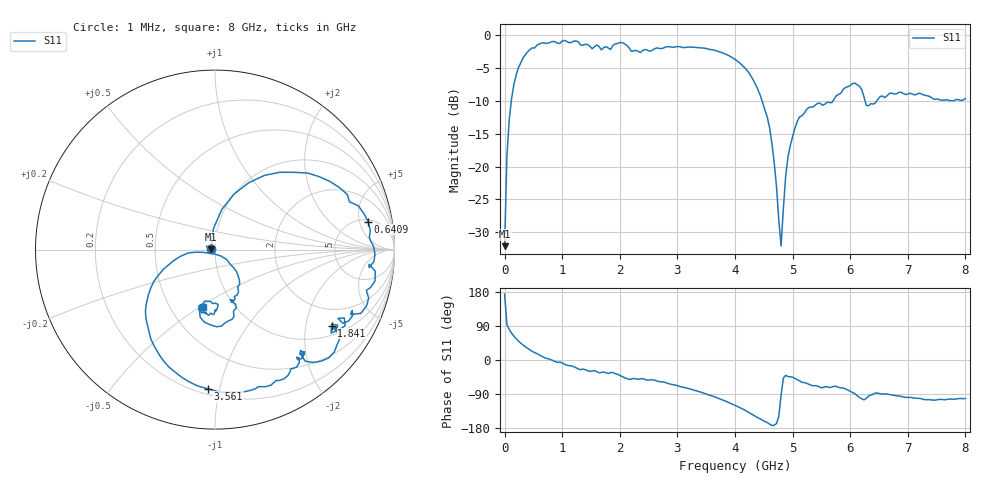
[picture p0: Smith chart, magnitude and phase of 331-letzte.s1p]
# Hz S DB R 50
! CMT, CMT804U, 21380002, 24.2.2/4
! Date: 09/12/2025 13:13:09
! Data: Format (Calibration Info)
! Freq	S11:dB/Ang(F2)
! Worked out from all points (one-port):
!   201 points, 1 MHz to 8 GHz, reference 50 ohm
!   lowest |S11| = -32.1 dB at 1 MHz (marker M1), VSWR 1.05, Z = 47.6 + j0.251 ohm
!   |S11| at or under -10 dB: start of sweep to 117.5 MHz; 4.47 GHz to 5.703 GHz (1.233 GHz wide, 24.2 % of centre); 6.258 GHz to 6.465 GHz (206.4 MHz wide, 3.24 % of centre)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
!   S11 on the Smith chart (normalised r, x): 1 MHz: 0.95, +0.01; 640.9 MHz: 5.42, +6.81; 1.841 GHz: 1.32, -2.81; 3.561 GHz: 0.24, -0.92; 8 GHz: 0.72, -0.52
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1000000  -32.11 173.9
4.0995e7  -18.44 93.7
8.099e7  -12.91 80.4
1.6098e8  -7.60 63.3
3.2096e8  -3.48 39.6
6.4092e8  -1.23 10.3
1.000875e9  -0.91 -7.7
1.28084e9  -1.05 -23.6
1.640795e9  -1.75 -34.1
1.84077e9  -2.20 -33.0
2.00075e9  -1.15 -40.6
2.200725e9  -2.48 -50.7
2.600675e9  -2.11 -53.2
3.000625e9  -1.76 -67.7
3.560555e9  -2.19 -92.8
4.0005e9  -3.72 -119.6
4.280465e9  -6.28 -141.9
4.56043e9  -12.47 -165.1
4.680415e9  -19.34 -172.2
4.8004e9  -32.09 -92.9
4.88039e9  -21.47 -40.3
5.000375e9  -15.46 -45.3
5.28034e9  -11.02 -64.0
6.00025e9  -7.68 -82.4
6.200225e9  -8.28 -102.4
6.32021e9  -10.77 -95.0
7.000125e9  -8.98 -98.5
8e9  -9.68 -101.5
